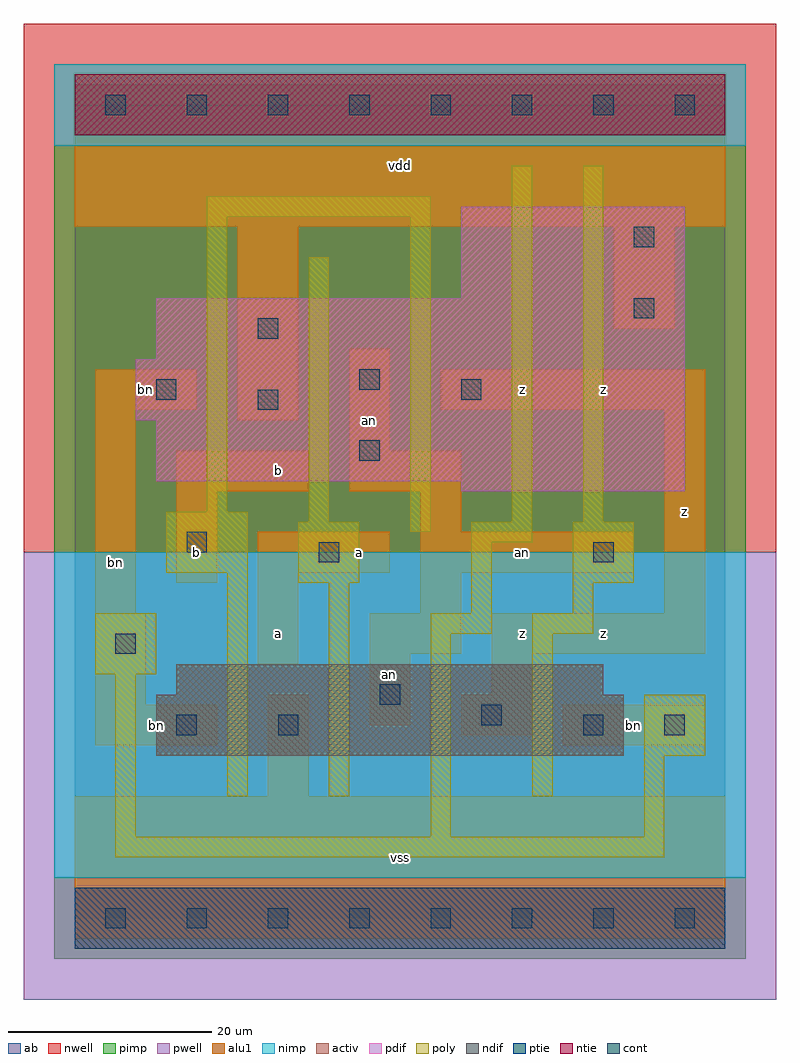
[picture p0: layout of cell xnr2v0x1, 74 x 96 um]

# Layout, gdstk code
import gdstk
lib = gdstk.Library(unit=1e-6, precision=1e-09)
def R(c, l, rs):  # rectangles x0, y0, x1, y1
    for r in rs: c.add(gdstk.rectangle(r[:2], r[2:], *l))
def A(c, l, x, y, w, h, nx, ny, dx, dy):  # array of equal rectangles
    R(c, l, [(x+i*dx, y+j*dy, x+i*dx+w, y+j*dy+h) for i in range(nx) for j in range(ny)])
ndif = (3, 0)
pdif = (4, 0)
ntie = (5, 0)
ptie = (6, 0)
cont = (25, 0)
pwell = (41, 0)
nwell = (42, 0)
activ = (43, 0)
pimp = (44, 0)
nimp = (45, 0)
poly = (46, 0)
alu1 = (49, 0)
ab = (63, 0)

xnr2v0x1 = lib.new_cell('xnr2v0x1')
R(xnr2v0x1, ndif, [(8,16,54,22), (10,22,52,25)])
R(xnr2v0x1, pdif, [(38,42,60,43), (8,43,60,49), (6,49,60,55), (8,55,60,61), (38,61,60,70)])
R(xnr2v0x1, ntie, [(0,77,64,83)])
R(xnr2v0x1, ptie, [(0,-3,64,3)])
A(xnr2v0x1, cont, 3, -1, 2, 2, 8, 2, 8, 80)
R(xnr2v0x1, cont, [(10,18,12,20), (20,18,22,20), (50,18,52,20), (58,18,60,20), (40,19,42,21), (30,21,32,23), (4,26,6,28), (24,35,26,37), (51,35,53,37), (11,36,13,38), (28,45,30,47), (18,50,20,52), (8,51,10,53), (38,51,40,53), (28,52,30,54), (18,57,20,59), (55,59,57,61), (55,66,57,68)])
R(xnr2v0x1, pwell, [(-5,-8,69,36)])
R(xnr2v0x1, nwell, [(-5,36,69,88)])
R(xnr2v0x1, activ, [(0,-3,64,3), (8,16,54,22), (10,22,52,25), (38,42,60,43), (8,43,60,49), (6,49,60,55), (8,55,60,61), (38,61,60,70), (0,77,64,83)])
R(xnr2v0x1, pimp, [(-2,-4,66,4), (-2,36,66,76)])
R(xnr2v0x1, nimp, [(-2,4,66,36), (-2,76,66,84)])
R(xnr2v0x1, poly, [(4,6,58,8), (4,8,6,24), (35,8,37,28), (56,8,58,16), (15,12,17,34), (25,12,27,33), (45,12,47,28), (56,16,62,22), (2,24,8,30), (35,28,41,30), (45,28,51,30), (39,30,41,37), (49,30,51,33), (22,33,28,39), (49,33,55,39), (9,34,17,40), (39,37,45,39), (33,38,35,69), (23,39,25,65), (43,39,45,74), (50,39,52,74), (13,40,15,69), (13,69,35,71)])
R(xnr2v0x1, alu1, [(0,-2,64,12), (19,12,23,22), (2,17,14,21), (48,17,62,21), (38,18,45,22), (29,19,33,26), (2,21,7,30), (41,22,45,26), (18,25,22,34), (29,26,38,30), (41,26,62,30), (2,30,6,50), (34,30,38,34), (58,30,62,50), (10,33,14,42), (18,34,31,38), (34,34,55,38), (34,38,38,42), (10,42,23,46), (27,42,38,46), (27,46,31,56), (16,49,22,68), (2,50,12,54), (36,50,62,54), (53,58,59,68), (0,68,64,82)])
R(xnr2v0x1, ab, [(0,0,64,80)])
xnr2v0x1.add(gdstk.Label('bn', (8,19), layer=49, texttype=0))
xnr2v0x1.add(gdstk.Label('bn', (4,35), layer=49, texttype=0))
xnr2v0x1.add(gdstk.Label('bn', (7,52), layer=49, texttype=0))
xnr2v0x1.add(gdstk.Label('an', (29,49), layer=49, texttype=0))
xnr2v0x1.add(gdstk.Label('an', (31,24), layer=49, texttype=0))
xnr2v0x1.add(gdstk.Label('bn', (55,19), layer=49, texttype=0))
xnr2v0x1.add(gdstk.Label('an', (44,36), layer=49, texttype=0))
xnr2v0x1.add(gdstk.Label('b', (12,36), layer=49, texttype=0))
xnr2v0x1.add(gdstk.Label('a', (28,36), layer=49, texttype=0))
xnr2v0x1.add(gdstk.Label('a', (20,28), layer=49, texttype=0))
xnr2v0x1.add(gdstk.Label('b', (20,44), layer=49, texttype=0))
xnr2v0x1.add(gdstk.Label('vss', (32,6), layer=49, texttype=0))
xnr2v0x1.add(gdstk.Label('z', (44,28), layer=49, texttype=0))
xnr2v0x1.add(gdstk.Label('z', (44,52), layer=49, texttype=0))
xnr2v0x1.add(gdstk.Label('vdd', (32,74), layer=49, texttype=0))
xnr2v0x1.add(gdstk.Label('z', (52,28), layer=49, texttype=0))
xnr2v0x1.add(gdstk.Label('z', (60,40), layer=49, texttype=0))
xnr2v0x1.add(gdstk.Label('z', (52,52), layer=49, texttype=0))

lib.write_gds('xnr2v0x1.gds')
